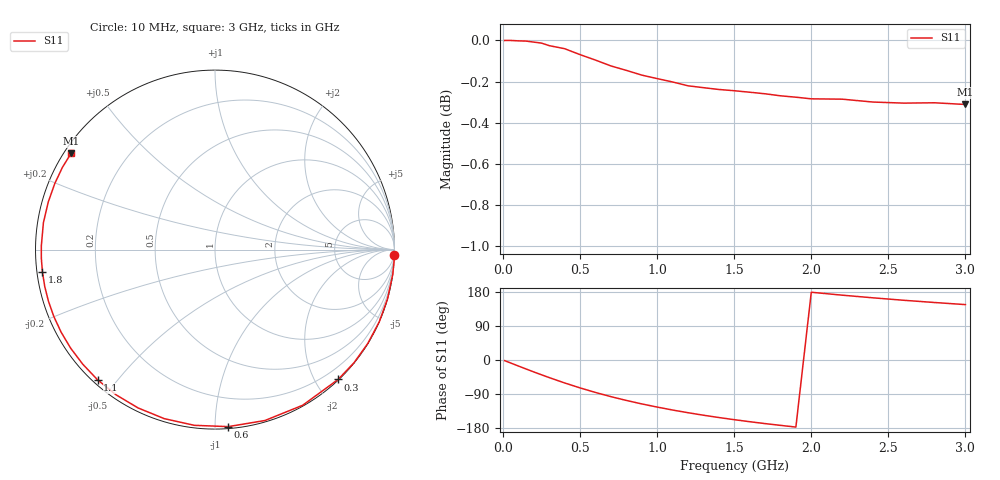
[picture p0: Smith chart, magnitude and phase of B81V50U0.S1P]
! SIEMENS Discrete & RF Semiconductors
! BBY53-03W
! Si Tuning Diode in SOD323
! VR = 1.5 V
! S-Parameters:  May  1997
# GHz  S  MA  R  50
!  f  S11
! GHz  MAG  ANG
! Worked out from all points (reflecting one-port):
!   30 points, 10 MHz to 3 GHz, reference 50 ohm
!   lowest |S11| = -0.3 dB at 3 GHz (marker M1), VSWR 55.82, Z = 0.978 + j15.2 ohm
!   phase of S11 starts at -2 deg and turns -212 deg over the sweep
!   S11 on the Smith chart (normalised r, x): 10 MHz: 0, -72; 300 MHz: 0.01, -2.33; 600 MHz: 0.01, -1.08; 1.1 GHz: 0.01, -0.45; 1.8 GHz: 0.02, -0.07; 3 GHz: 0.02, +0.30
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0.01  1 -1.6
0.05  1 -8.0
0.1  0.9998 -16.0
0.15  0.9996 -23.8
0.2  0.9991 -31.6
0.25  0.9985 -39.1
0.3  0.9971 -46.5
0.4  0.9954 -60.6
0.5  0.9921 -73.7
0.6  0.9891 -85.7
0.7  0.9858 -96.7
0.8  0.9834 -106.7
0.9  0.9808 -115.9
1  0.9789 -124.2
1.1  0.977 -132.0
1.2  0.9749 -139.1
1.3  0.9739 -145.7
1.4  0.9729 -151.8
1.5  0.9722 -157.5
1.6  0.9714 -162.8
1.8  0.9695 -172.5
1.9  0.9687 -177.0
2  0.9678 178.8
2.2  0.9677 171.1
2.4  0.9661 164.1
2.6  0.9655 157.6
2.8  0.9657 151.7
3  0.9648 146.2
